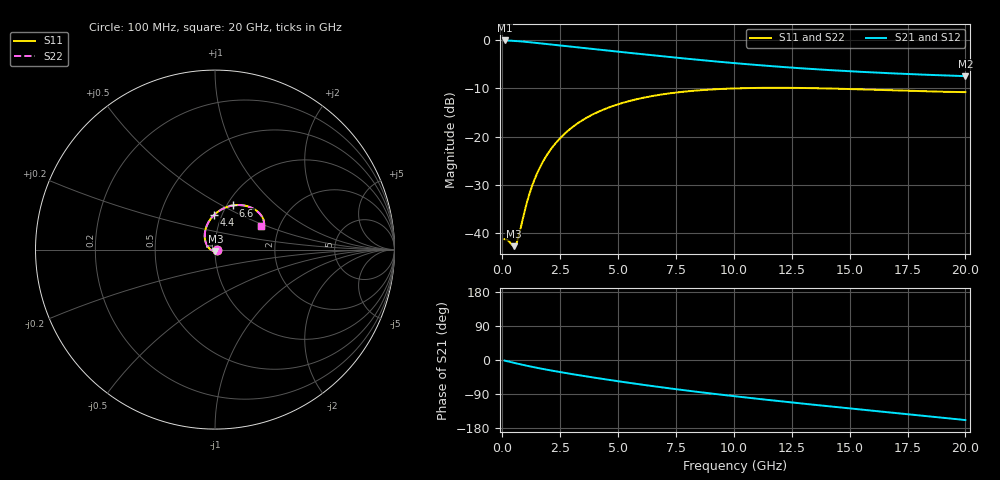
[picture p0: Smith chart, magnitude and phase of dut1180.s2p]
! Touchstone file exported from HFSS 2024.1.0
!  File:  C:/UserFiles/LocalFiles/RDL_TSV_Batchsim/temp_RDL_TSV_1180_1780125418.aedt
!  Generated:  03:29:22 PM May 30, 2026
!  Design:  RDL_TSV
!  Project:  temp_RDL_TSV_1180_1780125418
!  Setup:  Setup1
!  Solution:  Sweep
! Variables:
!  dtsv = 13.07um
!  hbump = 3um
!  htsv = 52um
!  ldown = 138.9um
!  lrdl = 497.18um
!  p = 40
!  p1 = 56.26um
!  rhole = 10um
!  subl = 2405.42um
!  t = 450um
!  tdown = 4.92um
!  trdl = 3.79um
!  viad = 10um
!  wdown = 28.4um
!  wrdl = 26.93um
!  xbump = 18um
# GHz S MA R 50.000000
! Terminal data exported
! Port[1] = TM1_1_T1
! Port[2] = TM1_4_T1
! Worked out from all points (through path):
!   200 points, 100 MHz to 20 GHz, reference 50 ohm
!   highest |S21| = -0.08 dB at 100 MHz (marker M1); lowest = -7.5 dB at 20 GHz (marker M2)
!   group delay of S21, straight-line fit = 20.7 ps
!   lowest |S11| = -42.7 dB at 500 MHz (marker M3), VSWR 1.01, Z = 50.2 - j0.706 ohm
!   |S11| at or under -10 dB: start of sweep to 10.14 GHz; 13.83 GHz to end of sweep
!   |S22| runs from -42.7 to -9.9 dB; largest |S21 - S12| = 8.9e-15
!   S11 on the Smith chart (normalised r, x): 100 MHz: 1.02, -0.00; 4.4 GHz: 0.92, +0.37; 6.6 GHz: 1.07, +0.57; 20 GHz: 1.62, +0.46
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0.1  0.008653 -8.0  0.9907 -1.5  0.9907 -1.5  0.008654 -8.0
! Gamma 0 0 0 0
! Port Impedance 50 0 50 0
0.2  0.008571 -18.8  0.9891 -3.1  0.9891 -3.1  0.008572 -18.8
0.5  0.007332 -73.6  0.981 -7.4  0.981 -7.4  0.007335 -73.5
0.6  0.007713 -99.3  0.9774 -8.9  0.9774 -8.9  0.007715 -99.2
0.7  0.009109 -123.3  0.9734 -10.3  0.9734 -10.3  0.009107 -123.2
1  0.01823 -167.9  0.9594 -14.4  0.9594 -14.4  0.01821 -167.8
1.2  0.02673 176.1  0.9489 -17.0  0.9489 -17.0  0.0267 176.1
1.4  0.03632 164.4  0.9378 -19.5  0.9378 -19.5  0.03627 164.4
1.7  0.05198 151.1  0.9207 -23.0  0.9207 -23.0  0.05192 151.1
2.1  0.07407 137.4  0.8982 -27.6  0.8982 -27.6  0.07398 137.4
2.5  0.09646 126.5  0.8765 -31.9  0.8765 -31.9  0.09634 126.5
3  0.1238 115.2  0.8507 -37.0  0.8507 -37.0  0.1237 115.3
3.5  0.1498 105.8  0.8262 -42.0  0.8262 -42.0  0.1496 105.8
4.4  0.1918 91.9  0.7846 -50.6  0.7846 -50.6  0.1916 91.9
5.4  0.2306 79.6  0.7408 -59.6  0.7408 -59.6  0.2303 79.6
6.6  0.2663 67.6  0.6918 -69.8  0.6918 -69.8  0.2659 67.7
6.8  0.2712 65.9  0.684 -71.4  0.684 -71.4  0.2707 65.9
8.4  0.3004 53.8  0.6264 -83.9  0.6264 -83.9  0.2998 53.9
10.1  0.316 44.1  0.5749 -96.1  0.5749 -96.1  0.3154 44.1
13.4  0.3177 31.8  0.5011 -117.7  0.5011 -117.7  0.3171 31.8
16.7  0.3022 26.3  0.4538 -138.2  0.4538 -138.2  0.3016 26.4
20  0.2889 26.6  0.4228 -158.4  0.4228 -158.4  0.2885 26.7
